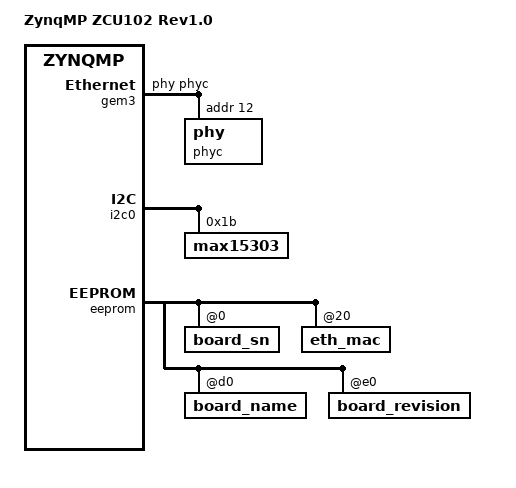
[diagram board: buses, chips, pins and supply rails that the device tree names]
/*
 * dts file for Xilinx ZynqMP ZCU102 Rev1.0
 *
 * (C) Copyright 2016, Xilinx, Inc.
 *
 * Michal Simek <michal.simek@xilinx.com>
 *
 * SPDX-License-Identifier:	GPL-2.0+
 */

#include "zynqmp-zcu102-revA.dts"

/ {
	model = "ZynqMP ZCU102 Rev1.0";
};

&gem3 {
	phy-handle = <&phyc>;
	phyc: phy@c {
		reg = <0xc>;
		ti,rx-internal-delay = <0x8>;
		ti,tx-internal-delay = <0xa>;
		ti,fifo-depth = <0x1>;
	};
	/* Cleanup from RevA */
	/delete-node/ phy@21;
};

/* Different qspi 512Mbit version */

/* Fix collision with u61 */
&i2c0 {
	i2cswitch@75 {
		i2c@2 {
			max15303@1b { /* u8 */
				compatible = "max15303";
				reg = <0x1b>;
			};
			/delete-node/ max15303@20;
		};
	};
};

&eeprom  {
	#address-cells = <1>;
	#size-cells = <1>;

	board_sn: board_sn@0 {
		reg = <0x0 0x14>;
	};

	eth_mac: eth_mac@20 {
		reg = <0x20 0x6>;
	};

	board_name: board_name@d0 {
		reg = <0xd0 0x6>;
	};

	board_revision: board_revision@e0 {
		reg = <0xe0 0x3>;
	};
};
